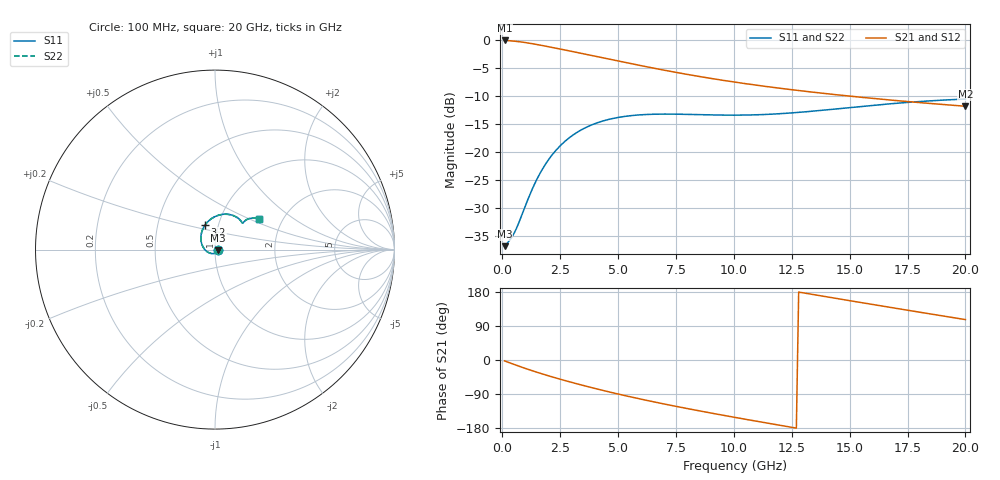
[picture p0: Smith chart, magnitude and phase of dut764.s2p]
! Touchstone file exported from HFSS 2024.1.0
!  File:  C:/UserFiles/LocalFiles/RDL_TSV_Batchsim/temp_RDL_TSV_764_1779901392.aedt
!  Generated:  01:18:04 AM May 28, 2026
!  Design:  RDL_TSV
!  Project:  temp_RDL_TSV_764_1779901392
!  Setup:  Setup1
!  Solution:  Sweep
! Variables:
!  dtsv = 11.31um
!  hbump = 3um
!  htsv = 98.4um
!  ldown = 514.49um
!  lrdl = 492.87um
!  p = 40
!  p1 = 54.23um
!  rhole = 10um
!  subl = 3514.95um
!  t = 450um
!  tdown = 3.04um
!  trdl = 3.69um
!  viad = 10um
!  wdown = 25.25um
!  wrdl = 29.95um
!  xbump = 18um
# GHz S MA R 50.000000
! Terminal data exported
! Port[1] = TM1_1_T1
! Port[2] = TM1_4_T1
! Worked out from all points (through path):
!   200 points, 100 MHz to 20 GHz, reference 50 ohm
!   highest |S21| = -0.13 dB at 100 MHz (marker M1); lowest = -11.9 dB at 20 GHz (marker M2)
!   group delay of S21, straight-line fit = 33.1 ps
!   lowest |S11| = -36.8 dB at 100 MHz (marker M3), VSWR 1.03, Z = 51.4 - j0.341 ohm
!   |S11| at or under -10 dB: start of sweep to end of sweep
!   |S22| runs from -36.8 to -10.6 dB; largest |S21 - S12| = 1.5e-14
!   S11 on the Smith chart (normalised r, x): 100 MHz: 1.03, -0.01; 3.2 GHz: 0.86, +0.24; 20 GHz: 1.52, +0.56
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0.1  0.01448 -13.2  0.9849 -2.4  0.9849 -2.4  0.01448 -13.2
! Gamma 0 0 0 0
! Port Impedance 50 0 50 0
0.5  0.0187 -77.9  0.9717 -11.5  0.9717 -11.5  0.01871 -77.9
0.9  0.02937 -131.8  0.9497 -20.2  0.9497 -20.2  0.02937 -131.7
1.3  0.04697 -167.7  0.9214 -28.5  0.9214 -28.5  0.04693 -167.6
1.8  0.07406 162.1  0.882 -38.1  0.882 -38.1  0.07396 162.2
2.1  0.09116 148.3  0.8579 -43.7  0.8579 -43.7  0.09101 148.4
2.4  0.108 136.5  0.8339 -49.0  0.8339 -49.0  0.1078 136.6
2.8  0.1292 123.1  0.8026 -55.8  0.8026 -55.8  0.1289 123.2
3.2  0.1482 111.7  0.7721 -62.5  0.7721 -62.5  0.1479 111.8
3.5  0.1609 104.2  0.7498 -67.3  0.7498 -67.3  0.1606 104.3
4.2  0.1848 89.4  0.6999 -78.1  0.6999 -78.1  0.1845 89.5
5.1  0.2046 74.6  0.6404 -91.2  0.6404 -91.2  0.2042 74.7
5.9  0.2137 64.7  0.5925 -102.1  0.5925 -102.1  0.2132 64.8
6.8  0.2173 56.4  0.5446 -113.7  0.5446 -113.7  0.2168 56.4
8.3  0.2155 47.8  0.4783 -131.8  0.4783 -131.8  0.215 48.0
10.1  0.2128 44.0  0.4174 -152.0  0.4174 -152.0  0.2124 44.2
11.7  0.2174 43.7  0.376 -169.2  0.376 -169.2  0.2171 43.9
13.4  0.2308 43.8  0.3411 173.0  0.3411 173.0  0.2308 44.0
15.1  0.2496 42.9  0.313 155.6  0.313 155.6  0.2497 43.1
16.7  0.268 40.8  0.2909 139.4  0.2909 139.4  0.2683 41.0
18.3  0.2838 38.0  0.2723 123.4  0.2723 123.4  0.2844 38.1
20  0.296 34.6  0.2555 106.6  0.2555 106.6  0.2968 34.7
